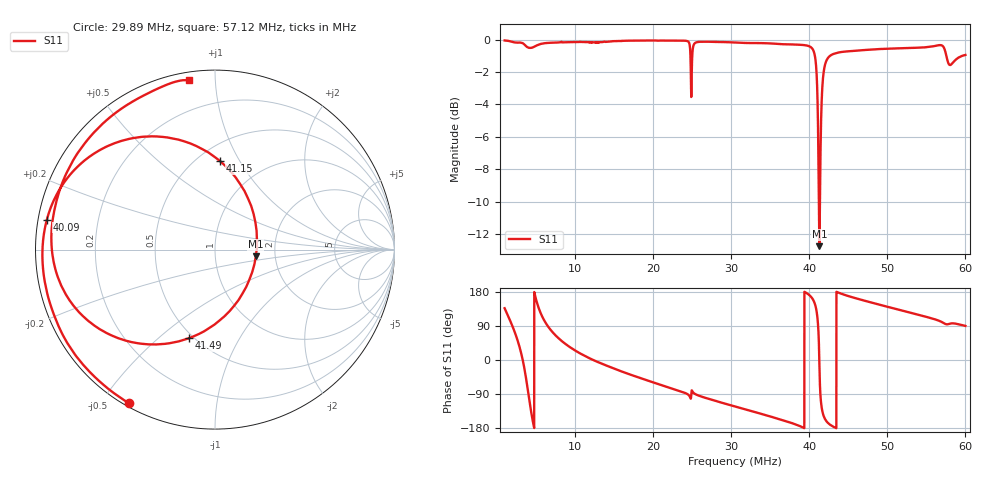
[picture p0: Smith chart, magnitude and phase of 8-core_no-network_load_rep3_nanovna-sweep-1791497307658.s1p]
! NanoVNA Web complex sweep
! Processing: unaveraged complex samples; linear segment spacing; no smoothing
# Hz S RI R 50
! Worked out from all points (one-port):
!   5050 points, 1 MHz to 60 MHz, reference 50 ohm
!   lowest |S11| = -12.7 dB at 41.3 MHz (marker M1), VSWR 1.60, Z = 79.2 - j6.06 ohm
!   |S11| at or under -10 dB: 41.2311 MHz to 41.37519 MHz (144.1 kHz wide, 0.349 % of centre)
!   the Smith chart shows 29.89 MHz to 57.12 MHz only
!   S11 on the Smith chart (normalised r, x): 29.89 MHz: 0.01, -0.59; 40.09 MHz: 0.03, +0.09; 41.15 MHz: 0.63, +0.83; 41.49 MHz: 0.47, -0.63; 57.12 MHz: 0.04, +0.86
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1000000  -0.7228 0.6818
2250295  0.2342 0.9522
3185095  0.9547 0.2098
3605755  0.8251 -0.4942
4049785  0.0049 -0.9439
4412020  -0.7051 -0.6265
4739200  -0.9455 -0.0827
5229970  -0.7924 0.5455
5755795  -0.4443 0.8634
8384920  0.6446 0.7386
1.131786e7  0.9666 0.1745
1.575816e7  0.8701 -0.473
2.313139e7  0.176 -0.9765
2.988532e7  -0.4772 -0.8567
3.050462e7  -0.5297 -0.8235
3.787786e7  -0.9416 -0.2148
4.008632e7  -0.9367 0.1672
4.067058e7  -0.7931 0.4336
4.093933e7  -0.4998 0.6116
4.114966e7  0.0273 0.4943
4.130156e7  0.2277 -0.0363
4.148852e7  -0.1471 -0.4945
4.186244e7  -0.6787 -0.4183
4.230648e7  -0.8371 -0.2391
4.52511e7  -0.898 0.2043
5.262433e7  -0.5608 0.7564
5.712306e7  -0.1428 0.943
5.999756e7  0.00166 0.8962
